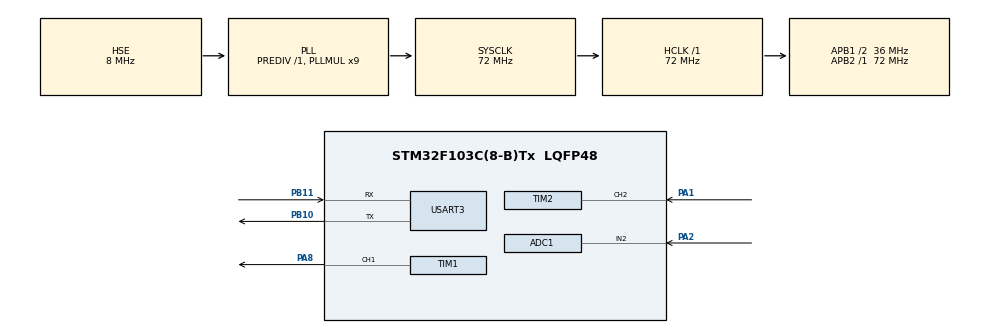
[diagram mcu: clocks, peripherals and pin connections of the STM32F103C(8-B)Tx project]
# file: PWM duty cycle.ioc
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ADC1.Channel-0\#ChannelRegularConversion=ADC_CHANNEL_2
ADC1.ContinuousConvMode=ENABLE
ADC1.NbrOfConversion=1
ADC1.NbrOfConversionFlag=1
ADC1.Rank-0\#ChannelRegularConversion=1
ADC1.SamplingTime-0\#ChannelRegularConversion=ADC_SAMPLETIME_1CYCLE_5
ADC1.master=1
Mcu.Family=STM32F1
Mcu.Name=STM32F103C(8-B)Tx
Mcu.Package=LQFP48
NVIC.PriorityGroup=NVIC_PRIORITYGROUP_4
NVIC.TIM2_IRQn=true\:0\:0\:false\:false\:true\:true\:true
PA1.Signal=S_TIM2_CH2
PA13.Mode=Serial_Wire
PA13.Signal=SYS_JTMS-SWDIO
PA14.Mode=Serial_Wire
PA14.Signal=SYS_JTCK-SWCLK
PA2.Signal=ADCx_IN2
PA8.Signal=S_TIM1_CH1
PB10.Mode=Asynchronous
PB10.Signal=USART3_TX
PB11.Mode=Asynchronous
PB11.Signal=USART3_RX
PD0-OSC_IN.Mode=HSE-External-Oscillator
PD0-OSC_IN.Signal=RCC_OSC_IN
PD1-OSC_OUT.Mode=HSE-External-Oscillator
PD1-OSC_OUT.Signal=RCC_OSC_OUT
ProjectManager.HeapSize=0x200
ProjectManager.StackSize=0x400
ProjectManager.TargetToolchain=MDK-ARM V5
RCC.ADCPresc=RCC_ADCPCLK2_DIV6
RCC.AHBFreq_Value=72000000
RCC.APB1CLKDivider=RCC_HCLK_DIV2
RCC.APB1Freq_Value=36000000
RCC.APB1TimFreq_Value=72000000
RCC.APB2Freq_Value=72000000
RCC.APB2TimFreq_Value=72000000
RCC.HCLKFreq_Value=72000000
RCC.PLLMUL=RCC_PLL_MUL9
RCC.PLLSourceVirtual=RCC_PLLSOURCE_HSE
RCC.SYSCLKFreq_VALUE=72000000
RCC.SYSCLKSource=RCC_SYSCLKSOURCE_PLLCLK
RCC.USBFreq_Value=72000000
SH.ADCx_IN2.0=ADC1_IN2,IN2
SH.S_TIM1_CH1.0=TIM1_CH1,PWM Generation1 CH1
SH.S_TIM2_CH2.0=TIM2_CH2,PWM_Input_2
TIM1.Channel-PWM\ Generation1\ CH1=TIM_CHANNEL_1
TIM1.Period=4095
TIM1.Prescaler=0
TIM1.Pulse-PWM\ Generation1\ CH1=383
TIM2.Period=0xFFFF
USART3.VirtualMode=VM_ASYNC
board=custom

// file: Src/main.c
/* USER CODE BEGIN Header */
/**
  ******************************************************************************
  * @file           : main.c
  * @brief          : Main program body
  ******************************************************************************
  * @attention
  *
  * <h2><center>&copy; Copyright (c) 2020 STMicroelectronics.
  * All rights reserved.</center></h2>
  *
  * This software component is licensed by ST under BSD 3-Clause license,
  * the "License"; You may not use this file except in compliance with the
  * License. You may obtain a copy of the License at:
  *                        opensource.org/licenses/BSD-3-Clause
  *
  ******************************************************************************
  */
/* USER CODE END Header */

#include "main.h"

ADC_HandleTypeDef hadc1;

TIM_HandleTypeDef htim1;
TIM_HandleTypeDef htim2;

UART_HandleTypeDef huart3;

void SystemClock_Config(void);
static void MX_GPIO_Init(void);
static void MX_ADC1_Init(void);
static void MX_TIM1_Init(void);
static void MX_TIM2_Init(void);
static void MX_USART3_UART_Init(void);

/* USER CODE BEGIN 0 */
uint16_t adcValue;
float voltageop = 0;
uint32_t icValue1 = 0;
uint32_t icValue2 = 0;
uint32_t diffCapture = 0;
uint16_t captureIndex = 0;
double dutycycle = 0;
char strBuffer[32];

uint16_t ADC_Read(void);

/* USER CODE END 0 */

int main(void)
{

  /* MCU Configuration--------------------------------------------------------*/

  /* Reset of all peripherals, Initializes the Flash interface and the Systick. */
  HAL_Init();

  /* Configure the system clock */
  SystemClock_Config();

  /* Initialize all configured peripherals */
  MX_GPIO_Init();
  MX_ADC1_Init();
  MX_TIM1_Init();
  MX_TIM2_Init();
  MX_USART3_UART_Init();
  /* USER CODE BEGIN 2 */
	HAL_TIM_PWM_Start(&htim1, TIM_CHANNEL_1);
	HAL_TIM_IC_Start_IT(&htim2, TIM_CHANNEL_1); //<<<<<<
	HAL_TIM_IC_Start_IT(&htim2, TIM_CHANNEL_2);
	HAL_ADC_Start(&hadc1);
  /* USER CODE END 2 */

  /* Infinite loop */
  while (1)
  {

    /* USER CODE BEGIN 3 */
		if(!adcValue) dutycycle = 0;
		sprintf(strBuffer,"Duty cycle is %.2f %%\r\n", dutycycle);
		HAL_UART_Transmit(&huart3,(uint8_t*)strBuffer,strlen(strBuffer),HAL_TIMEOUT);
		adcValue = HAL_ADC_GetValue(&hadc1);
		TIM1 -> CCR1 = ( adcValue ) ;
		voltageop = adcValue * 3.3 / (0x0FFF);
		sprintf(strBuffer,"Analog value is %.2f Volts\r\n", voltageop);
		HAL_UART_Transmit(&huart3,(uint8_t*)strBuffer,strlen(strBuffer),HAL_TIMEOUT);

		HAL_Delay(2000);
  }
  /* USER CODE END 3 */
}

void SystemClock_Config(void)
{
  RCC_OscInitTypeDef RCC_OscInitStruct = {0};
  RCC_ClkInitTypeDef RCC_ClkInitStruct = {0};
  RCC_PeriphCLKInitTypeDef PeriphClkInit = {0};

  /** Initializes the CPU, AHB and APB busses clocks
  */
  RCC_OscInitStruct.OscillatorType = RCC_OSCILLATORTYPE_HSE;
  RCC_OscInitStruct.HSEState = RCC_HSE_ON;
  RCC_OscInitStruct.HSEPredivValue = RCC_HSE_PREDIV_DIV1;
  RCC_OscInitStruct.HSIState = RCC_HSI_ON;
  RCC_OscInitStruct.PLL.PLLState = RCC_PLL_ON;
  RCC_OscInitStruct.PLL.PLLSource = RCC_PLLSOURCE_HSE;
  RCC_OscInitStruct.PLL.PLLMUL = RCC_PLL_MUL9;
  if (HAL_RCC_OscConfig(&RCC_OscInitStruct) != HAL_OK)
  {
    Error_Handler();
  }
  /** Initializes the CPU, AHB and APB busses clocks
  */
  RCC_ClkInitStruct.ClockType = RCC_CLOCKTYPE_HCLK|RCC_CLOCKTYPE_SYSCLK
                              |RCC_CLOCKTYPE_PCLK1|RCC_CLOCKTYPE_PCLK2;
  RCC_ClkInitStruct.SYSCLKSource = RCC_SYSCLKSOURCE_PLLCLK;
  RCC_ClkInitStruct.AHBCLKDivider = RCC_SYSCLK_DIV1;
  RCC_ClkInitStruct.APB1CLKDivider = RCC_HCLK_DIV2;
  RCC_ClkInitStruct.APB2CLKDivider = RCC_HCLK_DIV1;

  if (HAL_RCC_ClockConfig(&RCC_ClkInitStruct, FLASH_LATENCY_2) != HAL_OK)
  {
    Error_Handler();
  }
  PeriphClkInit.PeriphClockSelection = RCC_PERIPHCLK_ADC;
  PeriphClkInit.AdcClockSelection = RCC_ADCPCLK2_DIV6;
  if (HAL_RCCEx_PeriphCLKConfig(&PeriphClkInit) != HAL_OK)
  {
    Error_Handler();
  }
}

static void MX_ADC1_Init(void)
{

  ADC_ChannelConfTypeDef sConfig = {0};

  /** Common config
  */
  hadc1.Instance = ADC1;
  hadc1.Init.ScanConvMode = ADC_SCAN_DISABLE;
  hadc1.Init.ContinuousConvMode = ENABLE;
  hadc1.Init.DiscontinuousConvMode = DISABLE;
  hadc1.Init.ExternalTrigConv = ADC_SOFTWARE_START;
  hadc1.Init.DataAlign = ADC_DATAALIGN_RIGHT;
  hadc1.Init.NbrOfConversion = 1;
  if (HAL_ADC_Init(&hadc1) != HAL_OK)
  {
    Error_Handler();
  }
  /** Configure Regular Channel
  */
  sConfig.Channel = ADC_CHANNEL_2;
  sConfig.Rank = ADC_REGULAR_RANK_1;
  sConfig.SamplingTime = ADC_SAMPLETIME_1CYCLE_5;
  if (HAL_ADC_ConfigChannel(&hadc1, &sConfig) != HAL_OK)
  {
    Error_Handler();
  }

}

static void MX_TIM1_Init(void)
{

  TIM_MasterConfigTypeDef sMasterConfig = {0};
  TIM_OC_InitTypeDef sConfigOC = {0};
  TIM_BreakDeadTimeConfigTypeDef sBreakDeadTimeConfig = {0};

  htim1.Instance = TIM1;
  htim1.Init.Prescaler = 0;
  htim1.Init.CounterMode = TIM_COUNTERMODE_UP;
  htim1.Init.Period = 4095;
  htim1.Init.ClockDivision = TIM_CLOCKDIVISION_DIV1;
  htim1.Init.RepetitionCounter = 0;
  htim1.Init.AutoReloadPreload = TIM_AUTORELOAD_PRELOAD_DISABLE;
  if (HAL_TIM_PWM_Init(&htim1) != HAL_OK)
  {
    Error_Handler();
  }
  sMasterConfig.MasterOutputTrigger = TIM_TRGO_RESET;
  sMasterConfig.MasterSlaveMode = TIM_MASTERSLAVEMODE_DISABLE;
  if (HAL_TIMEx_MasterConfigSynchronization(&htim1, &sMasterConfig) != HAL_OK)
  {
    Error_Handler();
  }
  sConfigOC.OCMode = TIM_OCMODE_PWM1;
  sConfigOC.Pulse = 383;
  sConfigOC.OCPolarity = TIM_OCPOLARITY_HIGH;
  sConfigOC.OCNPolarity = TIM_OCNPOLARITY_HIGH;
  sConfigOC.OCFastMode = TIM_OCFAST_DISABLE;
  sConfigOC.OCIdleState = TIM_OCIDLESTATE_RESET;
  sConfigOC.OCNIdleState = TIM_OCNIDLESTATE_RESET;
  if (HAL_TIM_PWM_ConfigChannel(&htim1, &sConfigOC, TIM_CHANNEL_1) != HAL_OK)
  {
    Error_Handler();
  }
  sBreakDeadTimeConfig.OffStateRunMode = TIM_OSSR_DISABLE;
  sBreakDeadTimeConfig.OffStateIDLEMode = TIM_OSSI_DISABLE;
  sBreakDeadTimeConfig.LockLevel = TIM_LOCKLEVEL_OFF;
  sBreakDeadTimeConfig.DeadTime = 0;
  sBreakDeadTimeConfig.BreakState = TIM_BREAK_DISABLE;
  sBreakDeadTimeConfig.BreakPolarity = TIM_BREAKPOLARITY_HIGH;
  sBreakDeadTimeConfig.AutomaticOutput = TIM_AUTOMATICOUTPUT_DISABLE;
  if (HAL_TIMEx_ConfigBreakDeadTime(&htim1, &sBreakDeadTimeConfig) != HAL_OK)
  {
    Error_Handler();
  }
  HAL_TIM_MspPostInit(&htim1);

}

static void MX_TIM2_Init(void)
{

  TIM_SlaveConfigTypeDef sSlaveConfig = {0};
  TIM_IC_InitTypeDef sConfigIC = {0};
  TIM_MasterConfigTypeDef sMasterConfig = {0};

  htim2.Instance = TIM2;
  htim2.Init.Prescaler = 0;
  htim2.Init.CounterMode = TIM_COUNTERMODE_UP;
  htim2.Init.Period = 0xFFFF;
  htim2.Init.ClockDivision = TIM_CLOCKDIVISION_DIV1;
  htim2.Init.AutoReloadPreload = TIM_AUTORELOAD_PRELOAD_DISABLE;
  if (HAL_TIM_IC_Init(&htim2) != HAL_OK)
  {
    Error_Handler();
  }
  sSlaveConfig.SlaveMode = TIM_SLAVEMODE_RESET;
  sSlaveConfig.InputTrigger = TIM_TS_TI2FP2;
  sSlaveConfig.TriggerPolarity = TIM_INPUTCHANNELPOLARITY_FALLING;
  sSlaveConfig.TriggerPrescaler = TIM_ICPSC_DIV1;
  sSlaveConfig.TriggerFilter = 0;
  if (HAL_TIM_SlaveConfigSynchronization(&htim2, &sSlaveConfig) != HAL_OK)
  {
    Error_Handler();
  }
  sConfigIC.ICPolarity = TIM_INPUTCHANNELPOLARITY_RISING;
  sConfigIC.ICSelection = TIM_ICSELECTION_INDIRECTTI;
  sConfigIC.ICPrescaler = TIM_ICPSC_DIV1;
  sConfigIC.ICFilter = 0;
  if (HAL_TIM_IC_ConfigChannel(&htim2, &sConfigIC, TIM_CHANNEL_1) != HAL_OK)
  {
    Error_Handler();
  }
  sConfigIC.ICPolarity = TIM_INPUTCHANNELPOLARITY_FALLING;
  sConfigIC.ICSelection = TIM_ICSELECTION_DIRECTTI;
  if (HAL_TIM_IC_ConfigChannel(&htim2, &sConfigIC, TIM_CHANNEL_2) != HAL_OK)
  {
    Error_Handler();
  }
  sMasterConfig.MasterOutputTrigger = TIM_TRGO_RESET;
  sMasterConfig.MasterSlaveMode = TIM_MASTERSLAVEMODE_DISABLE;
  if (HAL_TIMEx_MasterConfigSynchronization(&htim2, &sMasterConfig) != HAL_OK)
  {
    Error_Handler();
  }

}

static void MX_USART3_UART_Init(void)
{

  huart3.Instance = USART3;
  huart3.Init.BaudRate = 115200;
  huart3.Init.WordLength = UART_WORDLENGTH_8B;
  huart3.Init.StopBits = UART_STOPBITS_1;
  huart3.Init.Parity = UART_PARITY_NONE;
  huart3.Init.Mode = UART_MODE_TX_RX;
  huart3.Init.HwFlowCtl = UART_HWCONTROL_NONE;
  huart3.Init.OverSampling = UART_OVERSAMPLING_16;
  if (HAL_UART_Init(&huart3) != HAL_OK)
  {
    Error_Handler();
  }

}

static void MX_GPIO_Init(void)
{

  /* GPIO Ports Clock Enable */
  __HAL_RCC_GPIOD_CLK_ENABLE();
  __HAL_RCC_GPIOA_CLK_ENABLE();
  __HAL_RCC_GPIOB_CLK_ENABLE();

}

/* USER CODE BEGIN 4 */
void HAL_TIM_IC_CaptureCallback(TIM_HandleTypeDef *htim)
{
	if (htim->Channel == HAL_TIM_ACTIVE_CHANNEL_2)
	{
		/** Get input capture value **/

		icValue1 = HAL_TIM_ReadCapturedValue(htim,TIM_CHANNEL_2);
		captureIndex = 1;
	}
	if (htim->Channel == HAL_TIM_ACTIVE_CHANNEL_2)
	{
		/** Get input capture value **/
		if(captureIndex)
		icValue2 = HAL_TIM_ReadCapturedValue(htim,TIM_CHANNEL_1);
		captureIndex ++;
	}
	if(captureIndex == 2 )
	{
		dutycycle = ((icValue1 - icValue2)*100 / 4095) ;
		captureIndex = 0;
	}

}
/* USER CODE END 4 */

void Error_Handler(void)
{
}

/************************ (C) COPYRIGHT STMicroelectronics *****END OF FILE****/
